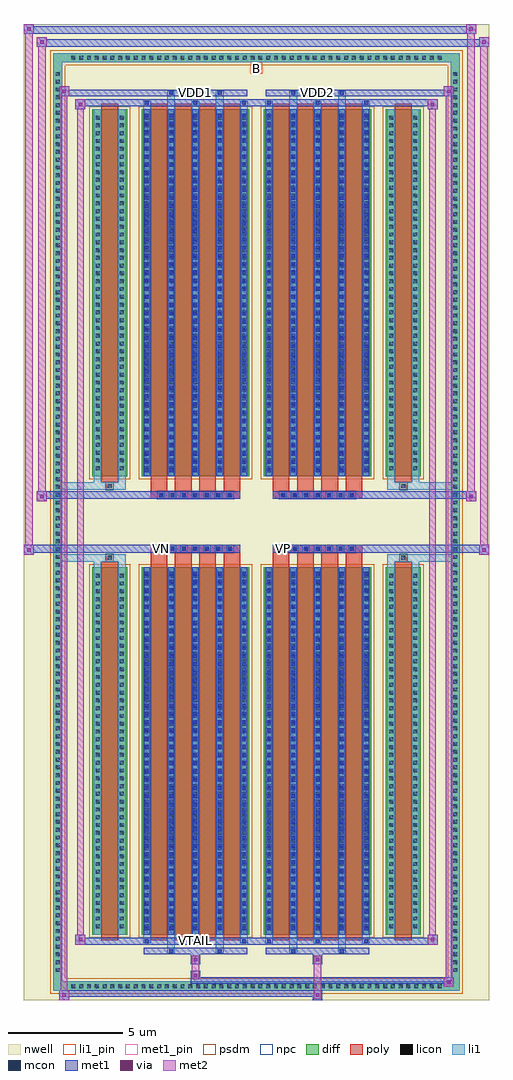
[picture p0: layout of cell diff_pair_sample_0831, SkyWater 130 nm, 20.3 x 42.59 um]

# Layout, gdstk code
import gdstk
lib = gdstk.Library(unit=1e-6, precision=5e-09)
def R(c, l, rs):  # rectangles x0, y0, x1, y1
    for r in rs: c.add(gdstk.rectangle(r[:2], r[2:], *l))
def A(c, l, x, y, w, h, nx, ny, dx, dy):  # array of equal rectangles
    R(c, l, [(x+i*dx, y+j*dy, x+i*dx+w, y+j*dy+h) for i in range(nx) for j in range(ny)])
def P(c, l, *ps):  # polygons
    for p in ps: c.add(gdstk.Polygon(p, *l))
nwell = (64, 20)
diff = (65, 20)
poly = (66, 20)
licon = (66, 44)
li1_pin = (67, 16)
li1 = (67, 20)
mcon = (67, 44)
met1_pin = (68, 16)
met1 = (68, 20)
via = (68, 44)
met2 = (69, 20)
psdm = (94, 20)
npc = (95, 20)

diff_pair_sample_0831 = lib.new_cell('diff_pair_sample_0831')
R(diff_pair_sample_0831, nwell, [(-10.15,-20.86,10.15,21.73), (-7.47,-19.05,-0.01,-0.805), (0.01,-19.05,7.47,-0.805), (-7.47,0.805,-0.01,19.05), (0.01,0.805,7.47,19.05)])
A(diff_pair_sample_0831, diff, -8.195, -20.46, 0.41, 0.41, 48, 2, 0.34, 40.51)
A(diff_pair_sample_0831, diff, -8.88, -19.755, 0.41, 0.41, 1, 116, 0, 0.34)
A(diff_pair_sample_0831, diff, 8.47, -19.755, 0.41, 0.41, 1, 116, 0, 0.34)
R(diff_pair_sample_0831, diff, [(-8.195,-20.46,8.195,-20.05), (-8.88,-19.755,-8.47,19.755), (8.47,-19.755,8.88,19.755), (-7.16,-18.005,-5.65,-1.985), (-5.01,-18.005,-0.32,-1.985), (0.32,-18.005,5.01,-1.985), (5.65,-18.005,7.16,-1.985), (-7.16,1.985,-5.65,18.005), (-5.01,1.985,-0.32,18.005), (0.32,1.985,5.01,18.005), (5.65,1.985,7.16,18.005), (-8.195,20.05,8.195,20.46)])
P(diff_pair_sample_0831, diff, [(8.88,20.46),(-8.88,20.46),(-8.88,-20.05),(-8.47,-20.05),(-8.47,20.05),(8.47,20.05),(8.47,-20.05),(-8.47,-20.05),(-8.88,-20.05),(-8.88,-20.46),(8.88,-20.46)])
A(diff_pair_sample_0831, poly, -4.62, -18.255, 0.73, 16.52, 4, 2, 1.06, 19.99)
A(diff_pair_sample_0831, poly, 0.71, -18.255, 0.73, 16.52, 4, 2, 1.06, 19.99)
A(diff_pair_sample_0831, poly, -4.62, -1.735, 0.73, 0.4, 4, 2, 1.06, 3.07)
A(diff_pair_sample_0831, poly, 0.71, -1.735, 0.73, 0.4, 4, 2, 1.06, 3.07)
A(diff_pair_sample_0831, poly, -4.33, -1.335, 0.33, 0.33, 7, 2, 0.5, 2.34)
A(diff_pair_sample_0831, poly, 1, -1.335, 0.33, 0.33, 7, 2, 0.5, 2.34)
R(diff_pair_sample_0831, poly, [(-6.77,-18.255,-6.04,-1.735), (6.04,-18.255,6.77,-1.735), (-6.57,-1.735,-6.24,-1.405), (-6.57,-1.735,-6.24,-1.405), (6.24,-1.735,6.57,-1.405), (6.24,-1.735,6.57,-1.405), (-4.62,-1.335,-0.71,-1.005), (0.71,-1.335,4.62,-1.005), (-4.62,1.005,-0.71,1.335), (0.71,1.005,4.62,1.335), (-6.57,1.405,-6.24,1.735), (-6.57,1.405,-6.24,1.735), (6.24,1.405,6.57,1.735), (6.24,1.405,6.57,1.735), (-6.77,1.735,-6.04,18.255), (6.04,1.735,6.77,18.255)])
A(diff_pair_sample_0831, licon, -8.075, -20.34, 0.17, 0.17, 48, 2, 0.34, 40.51)
A(diff_pair_sample_0831, licon, -8.76, -19.635, 0.17, 0.17, 1, 116, 0, 0.34)
A(diff_pair_sample_0831, licon, 8.59, -19.635, 0.17, 0.17, 1, 116, 0, 0.34)
A(diff_pair_sample_0831, licon, -7.02, -17.73, 0.17, 0.17, 1, 46, 0, 0.34)
A(diff_pair_sample_0831, licon, -5.96, -17.73, 0.17, 0.17, 1, 46, 0, 0.34)
A(diff_pair_sample_0831, licon, -4.87, -17.73, 0.17, 0.17, 5, 46, 1.06, 0.34)
A(diff_pair_sample_0831, licon, 0.46, -17.73, 0.17, 0.17, 5, 46, 1.06, 0.34)
A(diff_pair_sample_0831, licon, 5.79, -17.73, 0.17, 0.17, 1, 46, 0, 0.34)
A(diff_pair_sample_0831, licon, 6.85, -17.73, 0.17, 0.17, 1, 46, 0, 0.34)
A(diff_pair_sample_0831, licon, -4.25, -1.255, 0.17, 0.17, 7, 2, 0.5, 2.34)
A(diff_pair_sample_0831, licon, 1.08, -1.255, 0.17, 0.17, 7, 2, 0.5, 2.34)
A(diff_pair_sample_0831, licon, -7.02, 2.26, 0.17, 0.17, 1, 46, 0, 0.34)
A(diff_pair_sample_0831, licon, -5.96, 2.26, 0.17, 0.17, 1, 46, 0, 0.34)
A(diff_pair_sample_0831, licon, -4.87, 2.26, 0.17, 0.17, 5, 46, 1.06, 0.34)
A(diff_pair_sample_0831, licon, 0.46, 2.26, 0.17, 0.17, 5, 46, 1.06, 0.34)
A(diff_pair_sample_0831, licon, 5.79, 2.26, 0.17, 0.17, 1, 46, 0, 0.34)
A(diff_pair_sample_0831, licon, 6.85, 2.26, 0.17, 0.17, 1, 46, 0, 0.34)
R(diff_pair_sample_0831, licon, [(-6.49,-1.655,-6.32,-1.485), (6.32,-1.655,6.49,-1.485), (-6.49,1.485,-6.32,1.655), (6.32,1.485,6.49,1.655)])
R(diff_pair_sample_0831, li1_pin, [(-0.25,19.55,0.25,20.05)])
A(diff_pair_sample_0831, li1, -8.155, -20.42, 0.33, 0.33, 48, 2, 0.34, 40.51)
A(diff_pair_sample_0831, li1, -8.84, -19.715, 0.33, 0.33, 1, 116, 0, 0.34)
A(diff_pair_sample_0831, li1, 8.51, -19.715, 0.33, 0.33, 1, 116, 0, 0.34)
A(diff_pair_sample_0831, li1, -4.95, -18.38, 0.33, 0.375, 3, 2, 2.12, 36.385)
A(diff_pair_sample_0831, li1, -4.87, -18.38, 0.17, 0.17, 3, 2, 2.12, 36.59)
A(diff_pair_sample_0831, li1, 0.38, -18.38, 0.33, 0.375, 3, 2, 2.12, 36.385)
A(diff_pair_sample_0831, li1, 0.46, -18.38, 0.17, 0.17, 3, 2, 2.12, 36.59)
A(diff_pair_sample_0831, li1, -4.95, -18.005, 0.33, 16.02, 5, 2, 1.06, 19.99)
A(diff_pair_sample_0831, li1, 0.38, -18.005, 0.33, 16.02, 5, 2, 1.06, 19.99)
A(diff_pair_sample_0831, li1, -4.87, -17.82, 0.17, 0.17, 5, 44, 1.06, 0.36)
A(diff_pair_sample_0831, li1, -4.87, -17.82, 0.17, 15.65, 5, 2, 1.06, 19.99)
A(diff_pair_sample_0831, li1, 0.46, -17.82, 0.17, 0.17, 5, 44, 1.06, 0.36)
A(diff_pair_sample_0831, li1, 0.46, -17.82, 0.17, 15.65, 5, 2, 1.06, 19.99)
A(diff_pair_sample_0831, li1, -7.1, -17.81, 0.33, 0.33, 1, 46, 0, 0.34)
A(diff_pair_sample_0831, li1, -6.04, -17.81, 0.33, 0.33, 1, 46, 0, 0.34)
A(diff_pair_sample_0831, li1, -4.95, -17.81, 0.33, 0.33, 5, 46, 1.06, 0.34)
A(diff_pair_sample_0831, li1, 0.38, -17.81, 0.33, 0.33, 5, 46, 1.06, 0.34)
A(diff_pair_sample_0831, li1, 5.71, -17.81, 0.33, 0.33, 1, 46, 0, 0.34)
A(diff_pair_sample_0831, li1, 6.77, -17.81, 0.33, 0.33, 1, 46, 0, 0.34)
A(diff_pair_sample_0831, li1, -4.33, -1.335, 0.33, 0.33, 7, 2, 0.5, 2.34)
A(diff_pair_sample_0831, li1, 1, -1.335, 0.33, 0.33, 7, 2, 0.5, 2.34)
A(diff_pair_sample_0831, li1, -4.87, 2.17, 0.17, 0.17, 5, 44, 1.06, 0.36)
A(diff_pair_sample_0831, li1, 0.46, 2.17, 0.17, 0.17, 5, 44, 1.06, 0.36)
A(diff_pair_sample_0831, li1, -7.1, 2.18, 0.33, 0.33, 1, 46, 0, 0.34)
A(diff_pair_sample_0831, li1, -6.04, 2.18, 0.33, 0.33, 1, 46, 0, 0.34)
A(diff_pair_sample_0831, li1, -4.95, 2.18, 0.33, 0.33, 5, 46, 1.06, 0.34)
A(diff_pair_sample_0831, li1, 0.38, 2.18, 0.33, 0.33, 5, 46, 1.06, 0.34)
A(diff_pair_sample_0831, li1, 5.71, 2.18, 0.33, 0.33, 1, 46, 0, 0.34)
A(diff_pair_sample_0831, li1, 6.77, 2.18, 0.33, 0.33, 1, 46, 0, 0.34)
R(diff_pair_sample_0831, li1, [(-8.88,-20.46,-8.47,-20.05), (-8.88,-20.46,-8.47,-20.05), (-8.47,-20.46,8.47,-20.05), (8.47,-20.46,8.88,-20.05), (8.47,-20.46,8.88,-20.05), (-8.88,-20.05,-8.47,20.05), (8.47,-20.05,8.88,20.05), (-3.89,-18.81,-3.56,-18.005), (-3.81,-18.81,-3.64,-18.64), (-1.77,-18.81,-1.44,-18.005), (-1.69,-18.81,-1.52,-18.64), (1.44,-18.81,1.77,-18.005), (1.52,-18.81,1.69,-18.64), (3.56,-18.81,3.89,-18.005), (3.64,-18.81,3.81,-18.64), (-7.1,-18.005,-6.77,-1.985), (-6.04,-18.005,-5.71,-1.985), (5.71,-18.005,6.04,-1.985), (6.77,-18.005,7.1,-1.985), (-7.1,-1.985,-6.77,-1.405), (-6.04,-1.985,-5.71,-1.405), (5.71,-1.985,6.04,-1.405), (6.77,-1.985,7.1,-1.405), (-8.88,-1.735,-6.57,-1.405), (-7.1,-1.735,-6.57,-1.405), (-6.57,-1.735,-6.24,-1.405), (-6.24,-1.735,-5.71,-1.405), (5.71,-1.735,6.24,-1.405), (6.24,-1.735,6.57,-1.405), (6.24,-1.735,8.88,-1.405), (6.57,-1.735,7.1,-1.405), (-8.88,1.405,-6.57,1.735), (-7.1,1.405,-6.57,1.735), (-7.1,1.405,-6.77,1.985), (-6.57,1.405,-6.24,1.735), (-6.24,1.405,-5.71,1.735), (-6.04,1.405,-5.71,1.985), (5.71,1.405,6.24,1.735), (5.71,1.405,6.04,1.985), (6.24,1.405,6.57,1.735), (6.24,1.405,8.88,1.735), (6.57,1.405,7.1,1.735), (6.77,1.405,7.1,1.985), (-7.1,1.985,-6.77,18.005), (-6.04,1.985,-5.71,18.005), (5.71,1.985,6.04,18.005), (6.77,1.985,7.1,18.005), (-3.89,18.005,-3.56,18.81), (-1.77,18.005,-1.44,18.81), (1.44,18.005,1.77,18.81), (3.56,18.005,3.89,18.81), (-3.81,18.64,-3.64,18.81), (-1.69,18.64,-1.52,18.81), (1.52,18.64,1.69,18.81), (3.64,18.64,3.81,18.81), (-8.88,20.05,-8.47,20.46), (-8.88,20.05,-8.47,20.46), (-8.47,20.05,8.47,20.46), (8.47,20.05,8.88,20.46), (8.47,20.05,8.88,20.46)])
A(diff_pair_sample_0831, mcon, -4.87, -18.38, 0.17, 0.17, 3, 2, 2.12, 36.59)
A(diff_pair_sample_0831, mcon, 0.46, -18.38, 0.17, 0.17, 3, 2, 2.12, 36.59)
A(diff_pair_sample_0831, mcon, -4.87, -17.82, 0.17, 0.17, 5, 44, 1.06, 0.36)
A(diff_pair_sample_0831, mcon, 0.46, -17.82, 0.17, 0.17, 5, 44, 1.06, 0.36)
A(diff_pair_sample_0831, mcon, -4.25, -1.255, 0.17, 0.17, 7, 2, 0.5, 2.34)
A(diff_pair_sample_0831, mcon, 1.08, -1.255, 0.17, 0.17, 7, 2, 0.5, 2.34)
A(diff_pair_sample_0831, mcon, -4.87, 2.17, 0.17, 0.17, 5, 44, 1.06, 0.36)
A(diff_pair_sample_0831, mcon, 0.46, 2.17, 0.17, 0.17, 5, 44, 1.06, 0.36)
R(diff_pair_sample_0831, mcon, [(-3.81,-18.81,-3.64,-18.64), (-1.69,-18.81,-1.52,-18.64), (1.52,-18.81,1.69,-18.64), (3.64,-18.81,3.81,-18.64), (-3.81,18.64,-3.64,18.81), (-1.69,18.64,-1.52,18.81), (1.52,18.64,1.69,18.81), (3.64,18.64,3.81,18.81)])
R(diff_pair_sample_0831, met1_pin, [(-2.8,-18.42,-2.53,-18.15), (-4.3,-1.295,-4.03,-1.025), (1.03,-1.295,1.3,-1.025), (-2.8,18.6,-2.53,18.87), (2.53,18.6,2.8,18.87)])
A(diff_pair_sample_0831, met1, -4.93, -18.44, 0.29, 0.29, 3, 2, 2.12, 36.59)
A(diff_pair_sample_0831, met1, 0.4, -18.44, 0.29, 0.29, 3, 2, 2.12, 36.59)
A(diff_pair_sample_0831, met1, -4.93, -18.005, 0.29, 16.02, 5, 2, 1.06, 19.99)
A(diff_pair_sample_0831, met1, 0.4, -18.005, 0.29, 16.02, 5, 2, 1.06, 19.99)
A(diff_pair_sample_0831, met1, -4.93, -17.88, 0.29, 0.29, 5, 44, 1.06, 0.36)
A(diff_pair_sample_0831, met1, 0.4, -17.88, 0.29, 0.29, 5, 44, 1.06, 0.36)
A(diff_pair_sample_0831, met1, -4.31, -1.315, 0.29, 0.29, 7, 2, 0.5, 2.34)
A(diff_pair_sample_0831, met1, 1.02, -1.315, 0.29, 0.29, 7, 2, 0.5, 2.34)
A(diff_pair_sample_0831, met1, -4.93, 2.11, 0.29, 0.29, 5, 44, 1.06, 0.36)
A(diff_pair_sample_0831, met1, 0.4, 2.11, 0.29, 0.29, 5, 44, 1.06, 0.36)
R(diff_pair_sample_0831, met1, [(-8.61,-20.86,-8.18,-20.43), (2.45,-20.86,2.88,-20.43), (-8.61,-20.72,2.88,-20.43), (8.18,-20.29,8.61,-19.86), (-2.88,-20.15,8.61,-19.86), (-2.88,-20.01,-2.45,-19.58), (-2.88,-19.3,-2.45,-18.87), (2.45,-19.3,2.88,-18.87), (-4.93,-18.87,-0.4,-18.58), (-3.87,-18.87,-3.58,-18.58), (-1.75,-18.87,-1.46,-18.58), (0.4,-18.87,4.93,-18.58), (1.46,-18.87,1.75,-18.58), (3.58,-18.87,3.87,-18.58), (-7.9,-18.44,-7.47,-18.01), (-7.9,-18.44,-4.93,-18.15), (-4.93,-18.44,-0.4,-18.15), (-0.4,-18.44,0.4,-18.15), (0.4,-18.44,4.93,-18.15), (4.93,-18.44,7.9,-18.15), (7.47,-18.44,7.9,-18.01), (-10.15,-1.435,-9.72,-1.005), (9.72,-1.435,10.15,-1.005), (-10.15,-1.335,-0.71,-1.005), (-4.62,-1.335,-0.71,-1.005), (0.71,-1.335,4.62,-1.005), (0.71,-1.335,10.15,-1.005), (-9.58,0.905,-9.15,1.335), (9.15,0.905,9.58,1.335), (-9.58,1.005,-4.62,1.335), (-4.62,1.005,-0.71,1.335), (0.71,1.005,4.62,1.335), (4.62,1.005,9.58,1.335), (-7.9,18.01,-7.47,18.44), (7.47,18.01,7.9,18.44), (-7.9,18.15,-4.93,18.44), (-4.93,18.15,-0.4,18.44), (-0.4,18.15,0.4,18.44), (0.4,18.15,4.93,18.44), (4.93,18.15,7.9,18.44), (-8.61,18.58,-8.18,19.01), (-8.61,18.58,-4.93,18.87), (-4.93,18.58,-0.4,18.87), (-3.87,18.58,-3.58,18.87), (-1.75,18.58,-1.46,18.87), (0.4,18.58,4.93,18.87), (1.46,18.58,1.75,18.87), (3.58,18.58,3.87,18.87), (4.93,18.58,8.61,18.87), (8.18,18.58,8.61,19.01), (-9.58,20.73,-9.15,21.16), (-9.58,20.73,-7.47,21.06), (-7.47,20.73,7.47,21.06), (7.47,20.73,10.15,21.06), (9.72,20.73,10.15,21.16), (-10.15,21.3,-9.72,21.73), (-10.15,21.3,-7.47,21.63), (-7.47,21.3,7.47,21.63), (7.47,21.3,9.58,21.63), (9.15,21.3,9.58,21.73)])
R(diff_pair_sample_0831, via, [(-8.47,-20.72,-8.32,-20.57), (2.59,-20.72,2.74,-20.57), (8.32,-20.15,8.47,-20), (-2.74,-19.87,-2.59,-19.72), (-2.74,-19.16,-2.59,-19.01), (2.59,-19.16,2.74,-19.01), (-7.76,-18.3,-7.61,-18.15), (7.61,-18.3,7.76,-18.15), (-10.01,-1.295,-9.86,-1.145), (9.86,-1.295,10.01,-1.145), (-9.44,1.045,-9.29,1.195), (9.29,1.045,9.44,1.195), (-7.76,18.15,-7.61,18.3), (7.61,18.15,7.76,18.3), (-8.47,18.72,-8.32,18.87), (8.32,18.72,8.47,18.87), (-9.44,20.87,-9.29,21.02), (9.86,20.87,10.01,21.02), (-10.01,21.44,-9.86,21.59), (9.29,21.44,9.44,21.59)])
R(diff_pair_sample_0831, met2, [(-8.61,-20.86,-8.18,-20.43), (-8.54,-20.86,-8.25,19.01), (-8.25,-20.86,-8.18,-20.43), (-8.56,-20.81,-8.23,-20.48), (2.5,-20.81,2.83,-20.48), (2.5,-20.48,2.83,-19.25), (8.18,-20.29,8.61,-19.86), (8.25,-20.29,8.54,19.01), (8.54,-20.29,8.61,-19.86), (8.23,-20.24,8.56,-19.91), (-2.83,-19.96,-2.5,-19.63), (-2.83,-19.63,-2.5,-19.25), (-2.83,-19.25,-2.5,-18.92), (2.5,-19.25,2.83,-18.92), (-7.9,-18.44,-7.47,-18.01), (-7.83,-18.44,-7.54,18.44), (-7.54,-18.44,-7.47,-18.01), (7.47,-18.44,7.9,-18.01), (7.54,-18.44,7.83,18.44), (7.83,-18.44,7.9,-18.01), (-7.85,-18.39,-7.52,-18.06), (7.52,-18.39,7.85,-18.06), (-10.15,-1.435,-9.72,-1.005), (-10.1,-1.435,-9.77,21.73), (-9.77,-1.435,-9.72,-1.005), (9.72,-1.435,10.15,-1.005), (9.77,-1.435,10.1,21.16), (10.1,-1.435,10.15,-1.005), (-10.1,-1.385,-9.77,-1.055), (9.77,-1.385,10.1,-1.055), (-9.58,0.905,-9.15,1.335), (-9.53,0.905,-9.2,21.16), (-9.2,0.905,-9.15,1.335), (9.15,0.905,9.58,1.335), (9.2,0.905,9.53,21.73), (9.53,0.905,9.58,1.335), (-9.53,0.955,-9.2,1.285), (9.2,0.955,9.53,1.285), (-7.9,18.01,-7.47,18.44), (-7.54,18.01,-7.47,18.44), (7.47,18.01,7.9,18.44), (7.83,18.01,7.9,18.44), (-7.85,18.06,-7.52,18.39), (7.52,18.06,7.85,18.39), (-8.61,18.58,-8.18,19.01), (-8.25,18.58,-8.18,19.01), (8.18,18.58,8.61,19.01), (8.54,18.58,8.61,19.01), (-8.56,18.63,-8.23,18.96), (8.23,18.63,8.56,18.96), (-9.58,20.73,-9.15,21.16), (-9.2,20.73,-9.15,21.16), (9.72,20.73,10.15,21.16), (10.1,20.73,10.15,21.16), (-9.53,20.78,-9.2,21.11), (9.77,20.78,10.1,21.11), (-10.15,21.3,-9.72,21.73), (-9.77,21.3,-9.72,21.73), (9.15,21.3,9.58,21.73), (9.53,21.3,9.58,21.73), (-10.1,21.35,-9.77,21.68), (9.2,21.35,9.53,21.68)])
R(diff_pair_sample_0831, psdm, [(-7.29,-18.135,-5.52,-1.855), (-5.14,-18.135,-0.19,-1.855), (0.19,-18.135,5.14,-1.855), (5.52,-18.135,7.29,-1.855), (-7.29,1.855,-5.52,18.135), (-5.14,1.855,-0.19,18.135), (0.19,1.855,5.14,18.135), (5.52,1.855,7.29,18.135)])
P(diff_pair_sample_0831, psdm, [(9.01,20.59),(-9.01,20.59),(-9.01,-19.92),(-8.34,-19.92),(-8.34,19.92),(8.34,19.92),(8.34,-19.92),(-8.34,-19.92),(-9.01,-19.92),(-9.01,-20.59),(9.01,-20.59)])
A(diff_pair_sample_0831, npc, -4.35, -1.355, 0.37, 0.37, 7, 2, 0.5, 2.34)
A(diff_pair_sample_0831, npc, 0.98, -1.355, 0.37, 0.37, 7, 2, 0.5, 2.34)
R(diff_pair_sample_0831, npc, [(-6.59,-1.755,-6.22,-1.385), (6.22,-1.755,6.59,-1.385), (-4.35,-1.355,-3.48,-0.985), (-4.35,-1.355,-3.48,-0.985), (-3.85,-1.355,-2.98,-0.985), (-3.85,-1.355,-2.98,-0.985), (-3.35,-1.355,-2.48,-0.985), (-3.35,-1.355,-2.48,-0.985), (-2.85,-1.355,-1.98,-0.985), (-2.85,-1.355,-1.98,-0.985), (-2.35,-1.355,-1.48,-0.985), (-2.35,-1.355,-1.48,-0.985), (-1.85,-1.355,-0.98,-0.985), (-1.85,-1.355,-0.98,-0.985), (0.98,-1.355,1.85,-0.985), (0.98,-1.355,1.85,-0.985), (1.48,-1.355,2.35,-0.985), (1.48,-1.355,2.35,-0.985), (1.98,-1.355,2.85,-0.985), (1.98,-1.355,2.85,-0.985), (2.48,-1.355,3.35,-0.985), (2.48,-1.355,3.35,-0.985), (2.98,-1.355,3.85,-0.985), (2.98,-1.355,3.85,-0.985), (3.48,-1.355,4.35,-0.985), (3.48,-1.355,4.35,-0.985), (-4.35,0.985,-3.48,1.355), (-4.35,0.985,-3.48,1.355), (-3.85,0.985,-2.98,1.355), (-3.85,0.985,-2.98,1.355), (-3.35,0.985,-2.48,1.355), (-3.35,0.985,-2.48,1.355), (-2.85,0.985,-1.98,1.355), (-2.85,0.985,-1.98,1.355), (-2.35,0.985,-1.48,1.355), (-2.35,0.985,-1.48,1.355), (-1.85,0.985,-0.98,1.355), (-1.85,0.985,-0.98,1.355), (0.98,0.985,1.85,1.355), (0.98,0.985,1.85,1.355), (1.48,0.985,2.35,1.355), (1.48,0.985,2.35,1.355), (1.98,0.985,2.85,1.355), (1.98,0.985,2.85,1.355), (2.48,0.985,3.35,1.355), (2.48,0.985,3.35,1.355), (2.98,0.985,3.85,1.355), (2.98,0.985,3.85,1.355), (3.48,0.985,4.35,1.355), (3.48,0.985,4.35,1.355), (-6.59,1.385,-6.22,1.755), (6.22,1.385,6.59,1.755)])
diff_pair_sample_0831.add(gdstk.Label('VTAIL', (-2.665,-18.285), layer=68, texttype=5))
diff_pair_sample_0831.add(gdstk.Label('VN', (-4.165,-1.16), layer=68, texttype=5))
diff_pair_sample_0831.add(gdstk.Label('VP', (1.165,-1.16), layer=68, texttype=5))
diff_pair_sample_0831.add(gdstk.Label('B', (0,19.8), layer=67, texttype=5))
diff_pair_sample_0831.add(gdstk.Label('VDD2', (2.665,18.735), layer=68, texttype=5))
diff_pair_sample_0831.add(gdstk.Label('VDD1', (-2.665,18.735), layer=68, texttype=5))

lib.write_gds('diff_pair_sample_0831.gds')
